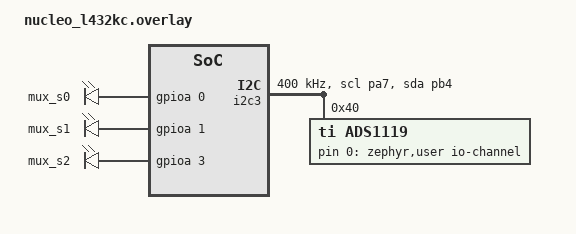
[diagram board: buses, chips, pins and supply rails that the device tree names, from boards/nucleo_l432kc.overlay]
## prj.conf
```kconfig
CONFIG_ADC=y
CONFIG_I2C=y
CONFIG_CBPRINTF_FP_SUPPORT=y
CONFIG_NEWLIB_LIBC=y
CONFIG_NEWLIB_LIBC_FLOAT_PRINTF=y
CONFIG_GPIO=y
```

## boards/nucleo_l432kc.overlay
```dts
/ {
	zephyr,user {
		/* adjust channel number according to pinmux in board.dts */
		io-channels = <&ads1119 0>;
	};

	muxgpio: muxgpio {
        compatible = "gpio-leds";
        mux_s0: mux_s0 {
            gpios = <&gpioa 0 GPIO_ACTIVE_HIGH>;
        };
        mux_s1: mux_s1 {
            gpios = <&gpioa 1 GPIO_ACTIVE_HIGH>;
        };
		mux_s2: mux_s2 {
            gpios = <&gpioa 3 GPIO_ACTIVE_HIGH>;
        };
    };
};

&i2c3 {
	pinctrl-0 = <&i2c3_scl_pa7 &i2c3_sda_pb4>;
	pinctrl-names = "default";
	clock-frequency = <I2C_BITRATE_FAST>;
	status = "okay";
    ads1119: ads1119@40 {
        #io-channel-cells = <1>;
        #address-cells = <1>;
        #size-cells = <0>;
		status = "okay";
		compatible = "ti,ads1119";
		reg = <0x40>;
        channel@0 {
            reg = <0x0>;
            zephyr,gain = "ADC_GAIN_1";
            zephyr,reference = "ADC_REF_EXTERNAL0";
            zephyr,acquisition-time = <ADC_ACQ_TIME(ADC_ACQ_TIME_TICKS, 2)>;
            zephyr,resolution = <15>;
        };
	};
};
```

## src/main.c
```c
/*
 * Copyright (c) 2020 Libre Solar Technologies GmbH
 *
 * SPDX-License-Identifier: Apache-2.0
 */

 #include <inttypes.h>
 #include <stddef.h>
 #include <stdint.h>
 
 #include <zephyr/device.h>
 #include <zephyr/devicetree.h>
 #include <zephyr/drivers/adc.h>
 #include <zephyr/kernel.h>
 #include <zephyr/sys/printk.h>
 #include <zephyr/sys/util.h>
 #include <zephyr/drivers/sensor.h>

 #include <zephyr/drivers/gpio.h>

 #define ACTIVE_CHANNEL	3
 #define ACTIVE_RANGE	1

 static const struct gpio_dt_spec mux0 = GPIO_DT_SPEC_GET(DT_NODELABEL(mux_s0), gpios);
 static const struct gpio_dt_spec mux1 = GPIO_DT_SPEC_GET(DT_NODELABEL(mux_s1), gpios);
 static const struct gpio_dt_spec mux2 = GPIO_DT_SPEC_GET(DT_NODELABEL(mux_s2), gpios);

 uint8_t channelBitmasks[8] = {0b00000000, 0b00000001};
 
 #if !DT_NODE_EXISTS(DT_PATH(zephyr_user)) || \
	 !DT_NODE_HAS_PROP(DT_PATH(zephyr_user), io_channels)
 #error "No suitable devicetree overlay specified"
 #endif
 
 #define DT_SPEC_AND_COMMA(node_id, prop, idx) \
	 ADC_DT_SPEC_GET_BY_IDX(node_id, idx),
 
 /* Data of ADC io-channels specified in devicetree. */
 static const struct adc_dt_spec adc_channels[] = {
	 DT_FOREACH_PROP_ELEM(DT_PATH(zephyr_user), io_channels,
				  DT_SPEC_AND_COMMA)
 };

 void set_mux(uint8_t channel, uint8_t range) {
	if (channel > 3 || range > 1) {
		printk("invalid channel/range\r\n");
		return;
	}
	uint8_t muxIndex = (channel * 2) + range;
	printk("MUX INDEX: %d\r\n", muxIndex);
	gpio_pin_set_dt(&mux0, muxIndex & 0x01);
	gpio_pin_set_dt(&mux1, (muxIndex >> 1) & 0x01);
	gpio_pin_set_dt(&mux2, (muxIndex >> 2) & 0x01);
 }
 
 int main(void) {
	 int err;
	 uint32_t count = 0;
	 uint16_t buf;
	 float voltage_float;
	 struct adc_sequence sequence = {
		 .buffer = &buf,
		 /* buffer size in bytes, not number of samples */
		 .buffer_size = sizeof(buf),
	 };

	gpio_pin_configure_dt(&mux0, GPIO_OUTPUT_INACTIVE);
	gpio_pin_configure_dt(&mux1, GPIO_OUTPUT_INACTIVE);
	gpio_pin_configure_dt(&mux2, GPIO_OUTPUT_INACTIVE);

	// TEST MUX SETTING
	set_mux(ACTIVE_CHANNEL, ACTIVE_RANGE);
 
	 /* Configure channels individually prior to sampling. */
	 for (size_t i = 0U; i < ARRAY_SIZE(adc_channels); i++) {
		 if (!adc_is_ready_dt(&adc_channels[i])) {
			 printk("ADC controller device %s not ready\n", adc_channels[i].dev->name);
			 return 0;
		 }
		 err = adc_channel_setup_dt(&adc_channels[i]);
		 if (err < 0) {
			 printk("Could not setup channel #%d (%d)\n", i, err);
			 return 0;
		 }
	 }
 
	 while (1) {
		 printk("ADC reading[%u]:\n", count++);
		 for (size_t i = 0U; i < ARRAY_SIZE(adc_channels); i++) {
			 int32_t val_mv;
 
			 printk("- %s, channel %d: ",
				 adc_channels[i].dev->name,
				 adc_channels[i].channel_id);
 
			 (void)adc_sequence_init_dt(&adc_channels[i], &sequence);
 
			 err = adc_read_dt(&adc_channels[i], &sequence);
			 if (err < 0) {
				 printk("Could not read (%d)\n", err);
				 continue;
			 }
 
			 /*
				 * If using differential mode, the 16 bit value
				 * in the ADC sample buffer should be a signed 2's
				 * complement value.
				 */
			 if (adc_channels[i].channel_cfg.differential) {
				 val_mv = (int32_t)((int16_t)buf);
			 } else {
				 val_mv = (int32_t)buf;
			 }
			 printk("%"PRId32, val_mv);

			 voltage_float = (float)(3.3f * ((float)val_mv / 32768.f));
			 /* conversion to mV may not be supported, skip if not */
			 if (err < 0) {
				 printk(" (value in mV not available)\n");
			 } else {
				 printk(" = %.3f V\n", voltage_float);
			 }
		 }
		 k_sleep(K_MSEC(500));
	 }
	 return 0;
 }
```
